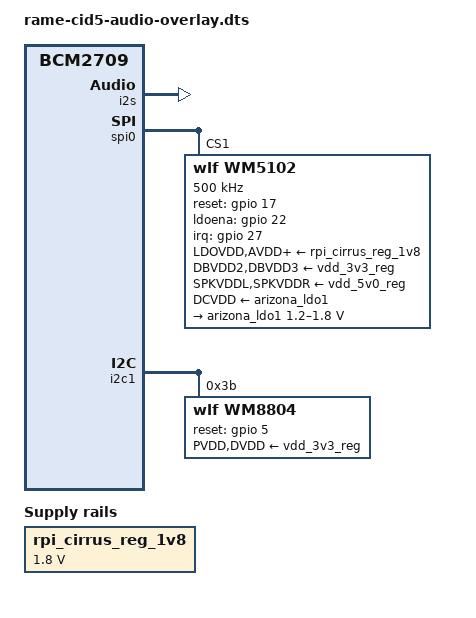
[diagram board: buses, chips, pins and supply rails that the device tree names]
// RamePlayer CID5: Cirrus Logic Audio Card (WM5102,WM8804)
//
// This is almost exact copy of:
// https://github.com/raspberrypi/linux/blob/rpi-4.9.y/arch/arm/boot/dts/overlays/rpi-cirrus-wm5102-overlay.dts
// (Differences: rame cid node & changed wlf,reset-gpio for wlf,wm8804)

/dts-v1/;
/plugin/;

// Macros replaced with raw values
//#include <dt-bindings/pinctrl/bcm2835.h>
//#include <dt-bindings/gpio/gpio.h>
//#include <dt-bindings/mfd/arizona.h>

/ {
	compatible = "brcm,bcm2835", "brcm,bcm2708", "brcm,bcm2709";

	// component id
	fragment@0 {
		target-path = "/";
		__overlay__ {
			rame {
				cid5 = "audio";
			};
		}; // overlay
	};

	fragment@1 {
		target = <&i2s>;  // /soc/i2s
		__overlay__ {
			status = "okay";
		};
	};

	fragment@2 {
		target = <&gpio>;  // /soc/gpio
		__overlay__ {
			wlf_pins: wlf_pins {
				//brcm,pins = <17 22 27 8>; // original
				brcm,pins = <17 22 27 5>; // changed PIN
				brcm,function = <
					1 // BCM2835_FSEL_GPIO_OUT
					1 // BCM2835_FSEL_GPIO_OUT
					0 // BCM2835_FSEL_GPIO_IN
					1 // BCM2835_FSEL_GPIO_OUT
				>;
			};
		};
	};

	fragment@3 {
		target-path = "/";
		__overlay__ {
			rpi_cirrus_reg_1v8: rpi_cirrus_reg_1v8 {
				compatible = "regulator-fixed";
				regulator-name = "RPi-Cirrus 1v8";
				regulator-min-microvolt = <1800000>;
				regulator-max-microvolt = <1800000>;
				regulator-always-on;
			};
		};
	};

	fragment@4 {
		target = <&spi0>;  // /soc/spi0
		__overlay__ {
			#address-cells = <1>;
			#size-cells = <0>;
			status = "okay";

			spidev@0{
				status = "disabled";
			};

			spidev@1{
				status = "disabled";
			};

			wm5102@1{
				compatible = "wlf,wm5102";
				reg = <1>;

				spi-max-frequency = <500000>;

				interrupt-parent = <&gpio>;
				interrupts = <27 8>;
				interrupt-controller;
				#interrupt-cells = <2>;

				gpio-controller;
				#gpio-cells = <2>;

				LDOVDD-supply = <&rpi_cirrus_reg_1v8>;
				AVDD-supply = <&rpi_cirrus_reg_1v8>;
				DBVDD1-supply = <&rpi_cirrus_reg_1v8>;
				DBVDD2-supply = <&vdd_3v3_reg>;
				DBVDD3-supply = <&vdd_3v3_reg>;
				CPVDD-supply = <&rpi_cirrus_reg_1v8>;
				SPKVDDL-supply = <&vdd_5v0_reg>;
				SPKVDDR-supply = <&vdd_5v0_reg>;
				DCVDD-supply = <&arizona_ldo1>;

				//wlf,reset = <&gpio 17 GPIO_ACTIVE_HIGH>;
				wlf,reset = <&gpio 17 0>;
				//wlf,ldoena = <&gpio 22 GPIO_ACTIVE_HIGH>;
				wlf,ldoena = <&gpio 22 0>;
				wlf,gpio-defaults = <
					0xffffffff // ARIZONA_GP_DEFAULT
					0xffffffff // ARIZONA_GP_DEFAULT
					0xffffffff // ARIZONA_GP_DEFAULT
					0xffffffff // ARIZONA_GP_DEFAULT
					0xffffffff // ARIZONA_GP_DEFAULT
				>;
				wlf,micd-configs = <0 1 0>;
				wlf,dmic-ref = <
					0 // ARIZONA_DMIC_MICVDD
					2 // ARIZONA_DMIC_MICBIAS2
					0 // ARIZONA_DMIC_MICVDD
					0 // ARIZONA_DMIC_MICVDD
				>;
				wlf,inmode = <
					0 // ARIZONA_INMODE_DIFF
					2 // ARIZONA_INMODE_DMIC
					1 // ARIZONA_INMODE_SE
					0 // ARIZONA_INMODE_DIFF
				>;
				status = "okay";

				arizona_ldo1: ldo1 {
					regulator-name = "LDO1";
					// default constraints as in
					// arizona-ldo1.c
					regulator-min-microvolt = <1200000>;
					regulator-max-microvolt = <1800000>;
				};
			};
		};
	};

	fragment@5 {
		target = <&i2c1>;  // /soc/i2c1
		__overlay__ {
			status = "okay";
			#address-cells = <1>;
			#size-cells = <0>;

			wm8804@3b {
				compatible = "wlf,wm8804";
				reg = <0x3b>;
				status = "okay";
				PVDD-supply = <&vdd_3v3_reg>;
				DVDD-supply = <&vdd_3v3_reg>;
				//wlf,reset-gpio = <&gpio 8 GPIO_ACTIVE_HIGH>; // original
				wlf,reset-gpio = <&gpio 5 0>; // changed PIN
			};
		};
	};

	fragment@6 {
		target = <&sound>;  // /sound
		__overlay__ {
			compatible = "wlf,rpi-cirrus";
			i2s-controller = <&i2s>;
			status = "okay";
		};
	};
};
